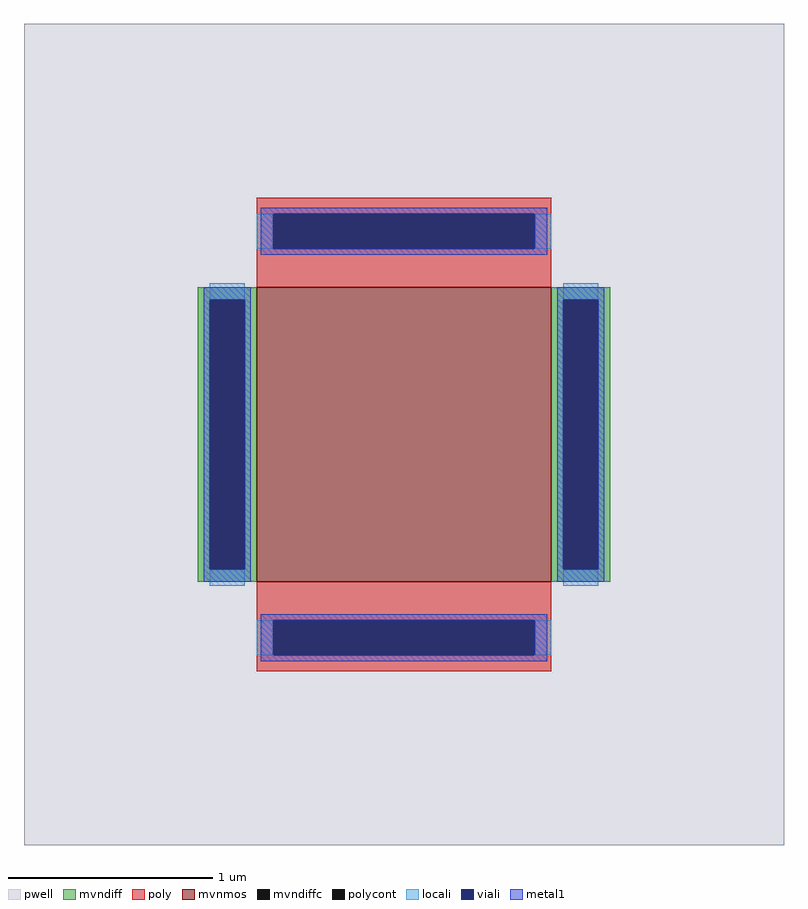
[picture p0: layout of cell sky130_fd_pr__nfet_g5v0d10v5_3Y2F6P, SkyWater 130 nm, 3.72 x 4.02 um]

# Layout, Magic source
magic
tech sky130A
<< pwell >>
rect -186 -201 186 201
<< mvnmos >>
rect -72 -72 72 72
<< mvndiff >>
rect -101 66 -72 72
rect -101 -66 -95 66
rect -78 -66 -72 66
rect -101 -72 -72 -66
rect 72 66 101 72
rect 72 -66 78 66
rect 95 -66 101 66
rect 72 -72 101 -66
<< mvndiffc >>
rect -95 -66 -78 66
rect 78 -66 95 66
<< poly >>
rect -72 108 72 116
rect -72 91 -64 108
rect 64 91 72 108
rect -72 72 72 91
rect -72 -91 72 -72
rect -72 -108 -64 -91
rect 64 -108 72 -91
rect -72 -116 72 -108
<< polycont >>
rect -64 91 64 108
rect -64 -108 64 -91
<< locali >>
rect -72 91 -64 108
rect 64 91 72 108
rect -95 66 -78 74
rect -95 -74 -78 -66
rect 78 66 95 74
rect 78 -74 95 -66
rect -72 -108 -64 -91
rect 64 -108 72 -91
<< viali >>
rect -64 91 64 108
rect -95 -66 -78 66
rect 78 -66 95 66
rect -64 -108 64 -91
<< metal1 >>
rect -70 108 70 111
rect -70 91 -64 108
rect 64 91 70 108
rect -70 88 70 91
rect -98 66 -75 72
rect -98 -66 -95 66
rect -78 -66 -75 66
rect -98 -72 -75 -66
rect 75 66 98 72
rect 75 -66 78 66
rect 95 -66 98 66
rect 75 -72 98 -66
rect -70 -91 70 -88
rect -70 -108 -64 -91
rect 64 -108 70 -91
rect -70 -111 70 -108
<< properties >>
string FIXED_BBOX -153 -168 153 168
string gencell sky130_fd_pr__nfet_g5v0d10v5
string library sky130
string parameters w 1.44 l 1.44 m 1 nf 1 diffcov 100 polycov 100 guard 1 glc 1 grc 1 gtc 1 gbc 1 tbcov 100 rlcov 100 topc 1 botc 1 poverlap 0 doverlap 1 lmin 0.50 wmin 0.42 class mosfet compatible {sky130_fd_pr__nfet_01v8 sky130_fd_pr__nfet_01v8_lvt  sky130_fd_bs_flash__special_sonosfet_star  sky130_fd_pr__nfet_g5v0d10v5 sky130_fd_pr__nfet_05v0_nvt  sky130_fd_pr__nfet_03v3_nvt} full_metal 1 viasrc 100 viadrn 100 viagate 100 viagb 0 viagr 0 viagl 0 viagt 0
<< end >>
